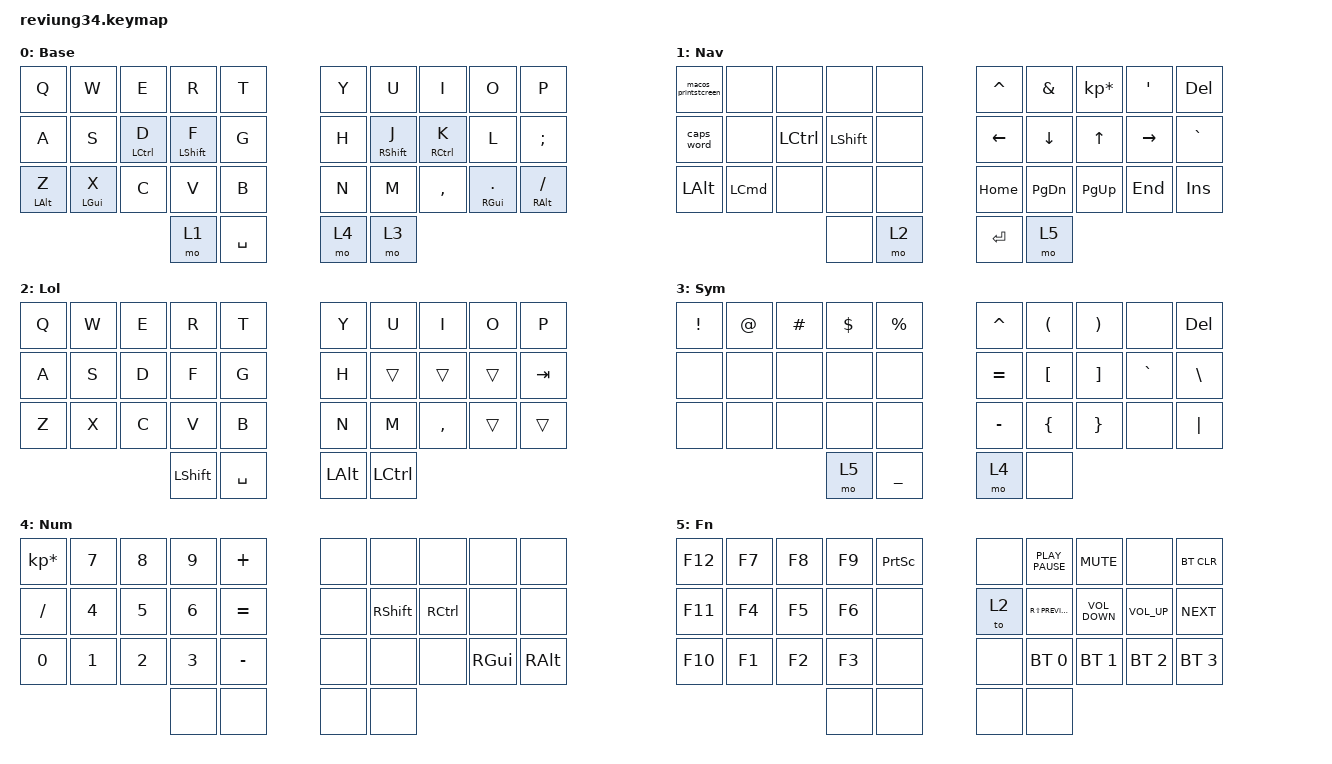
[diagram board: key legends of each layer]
/*
 * Copyright (c) 2020 The ZMK Contributors
 *
 * SPDX-License-Identifier: MIT
 */

#include <behaviors.dtsi>
#include <dt-bindings/zmk/bt.h>
#include <dt-bindings/zmk/keys.h>

/ {
    behaviors {
        hr_lmod: hr_lmod {
            compatible = "zmk,behavior-hold-tap";
            label = "HR_LMOD";
            bindings = <&kp>, <&kp>;

            #binding-cells = <2>;
            tapping-term-ms = <150>;
            hold-trigger-key-positions = <25 5 6 7 8 9 15 16 17 18 19 25 26 27 28 29>;
            flavor = "balanced";
            quick-tap-ms = <150>;
        };

        hr_rmod: hr_rmod {
            compatible = "zmk,behavior-hold-tap";
            label = "HR_RMOD";
            bindings = <&kp>, <&kp>;

            #binding-cells = <2>;
            tapping-term-ms = <150>;
            hold-trigger-key-positions = <0 1 2 3 4 10 11 12 13 14 20 21 22 23 24>;
            flavor = "balanced";
            quick-tap-ms = <150>;
        };

        enter: enter {
            compatible = "zmk,behavior-tap-dance";
            label = "ENTER";
            #binding-cells = <0>;
            bindings = <&kp RET>, <&kp QUESTION>, <&kp SLASH>;
        };
    };

    combos {
        compatible = "zmk,combos";

        backspace {
            bindings = <&kp BACKSPACE>;
            key-positions = <22 23>;
            timeout-ms = <20>;
        };

        escape {
            bindings = <&kp ESCAPE>;
            key-positions = <17 16>;
            timeout-ms = <20>;
        };

        tab {
            bindings = <&kp TAB>;
            key-positions = <21 22>;
            timeout-ms = <20>;
        };

        enter {
            bindings = <&kp RET>;
            key-positions = <18 17>;
            timeout-ms = <20>;
        };

        caps_word {
            bindings = <&caps_word>;
            key-positions = <12 13 17 16>;
        };
    };

    macros {
        macos_printstcreen: macos_printstcreen {
            compatible = "zmk,behavior-macro";
            #binding-cells = <0>;
            bindings = <&kp LG(RS(LC(NUMBER_4)))>;
            label = "MACOS_PRINTSTCREEN";
        };
    };

    keymap {
        compatible = "zmk,keymap";

        Base {
            // -----------------------------------------------------------------
            // | Q  |  W  |  E  |  R  |  T  |   |  Y  |  U   |  I  |  O  |  P  |
            // | A  |  S  |  D  |  F  |  G  |   |  H  |  J   |  K  |  L  |  ;  |
            // | Z  |  X  |  C  |  V  |  B  |   |  N  |  M   |  ,  |  .  |  /  |
            //                   | LGUI | SPC | RET | ALT |

            bindings = <
&kp Q            &kp W                &kp E             &kp R              &kp T      &kp Y         &kp U              &kp I             &kp O                 &kp P
&kp A            &kp S                &hr_lmod LCTRL D  &hr_lmod LSHIFT F  &kp G      &kp H         &hr_rmod RSHIFT J  &hr_rmod RCTRL K  &kp L                 &kp SEMICOLON
&hr_lmod LALT Z  &hr_lmod LEFT_GUI X  &kp C             &kp V              &kp B      &kp N         &kp M              &kp COMMA         &hr_rmod RGUI PERIOD  &hr_rmod RALT SLASH
                                                        &mo 1              &kp SPACE         &mo 4                     &mo 3
            >;
        };

        Nav {
            bindings = <
&macos_printstcreen  &none             &none             &none           &none  &kp CARET                &kp AMPERSAND  &kp KP_MULTIPLY  &kp SQT    &kp DELETE
&caps_word           &none             &kp LEFT_CONTROL  &kp LEFT_SHIFT  &none  &kp LEFT_ARROW           &kp DOWN       &kp UP_ARROW     &kp RIGHT  &kp GRAVE
&kp LEFT_ALT         &kp LEFT_COMMAND  &none             &none           &none  &kp HOME                 &kp PAGE_DOWN  &kp PAGE_UP      &kp END    &kp INSERT
                                                         &none           &mo 2                  &kp RET                 &mo 5
            >;
        };

        Lol {
            bindings = <
&kp Q  &kp W  &kp E  &kp R           &kp T      &kp Y                &kp U   &kp I      &kp O   &kp P
&kp A  &kp S  &kp D  &kp F           &kp G      &kp H                &trans  &trans     &trans  &kp TAB
&kp Z  &kp X  &kp C  &kp V           &kp B      &kp N                &kp M   &kp COMMA  &trans  &trans
                     &kp LEFT_SHIFT  &kp SPACE         &kp LEFT_ALT          &kp LCTRL
            >;
        };

        Sym {
            bindings = <
&kp EXCLAMATION  &kp AT_SIGN  &kp HASH  &kp DOLLAR  &kp PERCENT     &kp CARET         &kp LEFT_PARENTHESIS  &kp RPAR           &none      &kp DELETE
&none            &none        &none     &none       &none           &kp EQUAL         &kp LEFT_BRACKET      &kp RIGHT_BRACKET  &kp GRAVE  &kp BACKSLASH
&none            &none        &none     &none       &none           &kp MINUS         &kp LEFT_BRACE        &kp RIGHT_BRACE    &none      &kp PIPE
                                        &mo 5       &kp UNDERSCORE             &mo 4                        &none
            >;
        };

        Num {
            bindings = <
&kp KP_MULTIPLY  &kp NUMBER_7  &kp NUMBER_8  &kp NUMBER_9  &kp PLUS   &none         &none       &none      &none          &none
&kp SLASH        &kp NUMBER_4  &kp NUMBER_5  &kp NUMBER_6  &kp EQUAL  &none         &kp RSHIFT  &kp RCTRL  &none          &none
&kp NUMBER_0     &kp NUMBER_1  &kp NUMBER_2  &kp NUMBER_3  &kp MINUS  &none         &none       &none      &kp RIGHT_GUI  &kp RIGHT_ALT
                                             &none         &none             &none              &none
            >;
        };

        Fn {
            bindings = <
&kp F12  &kp F7  &kp F8  &kp F9  &kp PRINTSCREEN  &none         &kp K_PLAY_PAUSE    &kp K_MUTE         &none            &bt BT_CLR
&kp F11  &kp F4  &kp F5  &kp F6  &none            &to 2         &kp RS(K_PREVIOUS)  &kp C_VOLUME_DOWN  &kp C_VOLUME_UP  &kp K_NEXT
&kp F10  &kp F1  &kp F2  &kp F3  &none            &none         &bt BT_SEL 0        &bt BT_SEL 1       &bt BT_SEL 2     &bt BT_SEL 3
                         &none   &none                   &none                      &none
            >;
        };
    };
};
